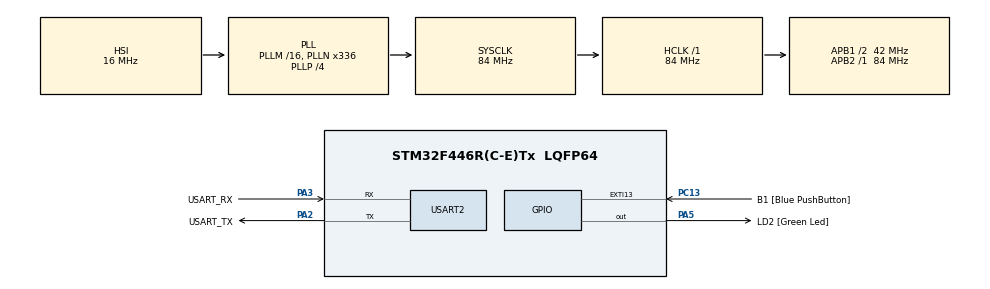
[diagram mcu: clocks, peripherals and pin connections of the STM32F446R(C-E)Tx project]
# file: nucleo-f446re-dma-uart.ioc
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Dma.Request0=USART2_TX
Dma.USART2_TX.0.Direction=DMA_MEMORY_TO_PERIPH
Dma.USART2_TX.0.FIFOMode=DMA_FIFOMODE_DISABLE
Dma.USART2_TX.0.Instance=DMA1_Stream6
Dma.USART2_TX.0.MemDataAlignment=DMA_MDATAALIGN_BYTE
Dma.USART2_TX.0.MemInc=DMA_MINC_ENABLE
Dma.USART2_TX.0.Mode=DMA_NORMAL
Dma.USART2_TX.0.PeriphDataAlignment=DMA_PDATAALIGN_BYTE
Dma.USART2_TX.0.PeriphInc=DMA_PINC_DISABLE
Dma.USART2_TX.0.Priority=DMA_PRIORITY_LOW
Mcu.Family=STM32F4
Mcu.Name=STM32F446R(C-E)Tx
Mcu.Package=LQFP64
NVIC.DMA1_Stream6_IRQn=true\:0\:0\:false\:false\:true\:false\:true\:true
NVIC.PriorityGroup=NVIC_PRIORITYGROUP_0
PA13.GPIO_Label=TMS
PA13.Mode=Serial_Wire
PA13.Signal=SYS_JTMS-SWDIO
PA14.GPIO_Label=TCK
PA14.Mode=Serial_Wire
PA14.Signal=SYS_JTCK-SWCLK
PA2.GPIO_Label=USART_TX
PA2.Mode=Asynchronous
PA2.Signal=USART2_TX
PA3.GPIO_Label=USART_RX
PA3.Mode=Asynchronous
PA3.Signal=USART2_RX
PA5.GPIO_Label=LD2 [Green Led]
PA5.Signal=GPIO_Output
PB3.GPIO_Label=SWO
PB3.Signal=SYS_JTDO-SWO
PC13.GPIO_Label=B1 [Blue PushButton]
PC13.GPIO_ModeDefaultEXTI=GPIO_MODE_IT_FALLING
PC13.Signal=GPXTI13
PC14-OSC32_IN.Mode=LSE-External-Oscillator
PC14-OSC32_IN.Signal=RCC_OSC32_IN
PC15-OSC32_OUT.Mode=LSE-External-Oscillator
PC15-OSC32_OUT.Signal=RCC_OSC32_OUT
PH0-OSC_IN.Mode=HSE-External-Oscillator
PH0-OSC_IN.Signal=RCC_OSC_IN
PH1-OSC_OUT.Mode=HSE-External-Oscillator
PH1-OSC_OUT.Signal=RCC_OSC_OUT
ProjectManager.HeapSize=0x200
ProjectManager.StackSize=0x400
ProjectManager.TargetToolchain=STM32CubeIDE
RCC.48MHZClocksFreq_Value=84000000
RCC.AHBFreq_Value=84000000
RCC.APB1CLKDivider=RCC_HCLK_DIV2
RCC.APB1Freq_Value=42000000
RCC.APB1TimFreq_Value=84000000
RCC.APB2Freq_Value=84000000
RCC.APB2TimFreq_Value=84000000
RCC.CortexFreq_Value=84000000
RCC.FLatency-AdvancedSettings=FLASH_LATENCY_2
RCC.HCLKFreq_Value=84000000
RCC.HSE_VALUE=8000000
RCC.HSI_VALUE=16000000
RCC.PLLN=336
RCC.PLLP=RCC_PLLP_DIV4
RCC.SYSCLKFreq_VALUE=84000000
RCC.SYSCLKSource=RCC_SYSCLKSOURCE_PLLCLK
RCC.USBFreq_Value=168000000
RCC.VCOOutputFreq_Value=336000000
USART2.VirtualMode=VM_ASYNC
board=NUCLEO-F446RE

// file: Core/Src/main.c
/* USER CODE BEGIN Header */
/**
  ******************************************************************************
  * @file           : main.c
  * @brief          : Main program body
  ******************************************************************************
  * @attention
  *
  * Copyright (c) 2024 STMicroelectronics.
  * All rights reserved.
  *
  * This software is licensed under terms that can be found in the LICENSE file
  * in the root directory of this software component.
  * If no LICENSE file comes with this software, it is provided AS-IS.
  *
  ******************************************************************************
  */
/* USER CODE END Header */
#include "main.h"

/* USER CODE BEGIN Includes */
#include <string.h>
/* USER CODE END Includes */

UART_HandleTypeDef huart2;
DMA_HandleTypeDef hdma_usart2_tx;

void SystemClock_Config(void);
static void MX_GPIO_Init(void);
static void MX_DMA_Init(void);
static void MX_USART2_UART_Init(void);
/* USER CODE BEGIN PFP */
void DMATransferComplete(DMA_HandleTypeDef *hdma);
/* USER CODE END PFP */

int main(void)
{

  /* USER CODE BEGIN 1 */
	char msg[] = "After an event, the peripheral sends a request signal to the DMA controller." \
				 "The DMA controller serves the request depending on the channel priorities. As " \
				 "soon as the DMA controller accesses the peripheral, an Acknowledge signal is " \
				 "sent to the peripheral by the DMA controller. The peripheral releases its request" \
				 " as soon as it gets the Acknowledge signal from the DMA controller. ";
  /* USER CODE END 1 */

  /* MCU Configuration--------------------------------------------------------*/

  /* Reset of all peripherals, Initializes the Flash interface and the Systick. */
  HAL_Init();

  /* Configure the system clock */
  SystemClock_Config();

  /* Initialize all configured peripherals */
  MX_GPIO_Init();
  MX_DMA_Init();
  MX_USART2_UART_Init();
  /* USER CODE BEGIN 2 */
  HAL_DMA_RegisterCallback(&hdma_usart2_tx, HAL_DMA_XFER_CPLT_CB_ID,
		  	  	  	  	   &DMATransferComplete);
  /* USER CODE END 2 */

  /* Infinite loop */
  /* USER CODE BEGIN WHILE */
  while (1)
  {
    huart2.Instance->CR3 |= USART_CR3_DMAT; // Tells the USART peripheral that we plan to send out data via DMA
    HAL_DMA_Start_IT(&hdma_usart2_tx, (uint32_t)msg,
    				(uint32_t)&huart2.Instance->DR, strlen(msg));

    HAL_Delay(1000);
	/* USER CODE END WHILE */
  }
}

void SystemClock_Config(void)
{
  RCC_OscInitTypeDef RCC_OscInitStruct = {0};
  RCC_ClkInitTypeDef RCC_ClkInitStruct = {0};

  /** Configure the main internal regulator output voltage
  */
  __HAL_RCC_PWR_CLK_ENABLE();
  __HAL_PWR_VOLTAGESCALING_CONFIG(PWR_REGULATOR_VOLTAGE_SCALE3);

  /** Initializes the RCC Oscillators according to the specified parameters
  * in the RCC_OscInitTypeDef structure.
  */
  RCC_OscInitStruct.OscillatorType = RCC_OSCILLATORTYPE_HSI;
  RCC_OscInitStruct.HSIState = RCC_HSI_ON;
  RCC_OscInitStruct.HSICalibrationValue = RCC_HSICALIBRATION_DEFAULT;
  RCC_OscInitStruct.PLL.PLLState = RCC_PLL_ON;
  RCC_OscInitStruct.PLL.PLLSource = RCC_PLLSOURCE_HSI;
  RCC_OscInitStruct.PLL.PLLM = 16;
  RCC_OscInitStruct.PLL.PLLN = 336;
  RCC_OscInitStruct.PLL.PLLP = RCC_PLLP_DIV4;
  RCC_OscInitStruct.PLL.PLLQ = 2;
  RCC_OscInitStruct.PLL.PLLR = 2;
  if (HAL_RCC_OscConfig(&RCC_OscInitStruct) != HAL_OK)
  {
    Error_Handler();
  }

  /** Initializes the CPU, AHB and APB buses clocks
  */
  RCC_ClkInitStruct.ClockType = RCC_CLOCKTYPE_HCLK|RCC_CLOCKTYPE_SYSCLK
                              |RCC_CLOCKTYPE_PCLK1|RCC_CLOCKTYPE_PCLK2;
  RCC_ClkInitStruct.SYSCLKSource = RCC_SYSCLKSOURCE_PLLCLK;
  RCC_ClkInitStruct.AHBCLKDivider = RCC_SYSCLK_DIV1;
  RCC_ClkInitStruct.APB1CLKDivider = RCC_HCLK_DIV2;
  RCC_ClkInitStruct.APB2CLKDivider = RCC_HCLK_DIV1;

  if (HAL_RCC_ClockConfig(&RCC_ClkInitStruct, FLASH_LATENCY_2) != HAL_OK)
  {
    Error_Handler();
  }
}

static void MX_USART2_UART_Init(void)
{

  huart2.Instance = USART2;
  huart2.Init.BaudRate = 115200;
  huart2.Init.WordLength = UART_WORDLENGTH_8B;
  huart2.Init.StopBits = UART_STOPBITS_1;
  huart2.Init.Parity = UART_PARITY_NONE;
  huart2.Init.Mode = UART_MODE_TX_RX;
  huart2.Init.HwFlowCtl = UART_HWCONTROL_NONE;
  huart2.Init.OverSampling = UART_OVERSAMPLING_16;
  if (HAL_UART_Init(&huart2) != HAL_OK)
  {
    Error_Handler();
  }

}

static void MX_DMA_Init(void)
{

  /* DMA controller clock enable */
  __HAL_RCC_DMA1_CLK_ENABLE();

  /* DMA interrupt init */
  /* DMA1_Stream6_IRQn interrupt configuration */
  HAL_NVIC_SetPriority(DMA1_Stream6_IRQn, 0, 0);
  HAL_NVIC_EnableIRQ(DMA1_Stream6_IRQn); // Initialized with interrupt

}

static void MX_GPIO_Init(void)
{
  GPIO_InitTypeDef GPIO_InitStruct = {0};

  /* GPIO Ports Clock Enable */
  __HAL_RCC_GPIOC_CLK_ENABLE();
  __HAL_RCC_GPIOH_CLK_ENABLE();
  __HAL_RCC_GPIOA_CLK_ENABLE();
  __HAL_RCC_GPIOB_CLK_ENABLE();

  /*Configure GPIO pin Output Level */
  HAL_GPIO_WritePin(LD2_GPIO_Port, LD2_Pin, GPIO_PIN_RESET);

  /*Configure GPIO pin : B1_Pin */
  GPIO_InitStruct.Pin = B1_Pin;
  GPIO_InitStruct.Mode = GPIO_MODE_IT_FALLING;
  GPIO_InitStruct.Pull = GPIO_NOPULL;
  HAL_GPIO_Init(B1_GPIO_Port, &GPIO_InitStruct);

  /*Configure GPIO pin : LD2_Pin */
  GPIO_InitStruct.Pin = LD2_Pin;
  GPIO_InitStruct.Mode = GPIO_MODE_OUTPUT_PP;
  GPIO_InitStruct.Pull = GPIO_NOPULL;
  GPIO_InitStruct.Speed = GPIO_SPEED_FREQ_LOW;
  HAL_GPIO_Init(LD2_GPIO_Port, &GPIO_InitStruct);

}

/* USER CODE BEGIN 4 */
void DMATransferComplete(DMA_HandleTypeDef *hdma)
{
  // Disable UART DMA mode
  huart2.Instance->CR3 &= ~USART_CR3_DMAT;

  // Toggle LD2
  HAL_GPIO_TogglePin(LD2_GPIO_Port, LD2_Pin);
}
/* USER CODE END 4 */

void Error_Handler(void)
{
  __disable_irq();
  while (1)
  {
  }
}
